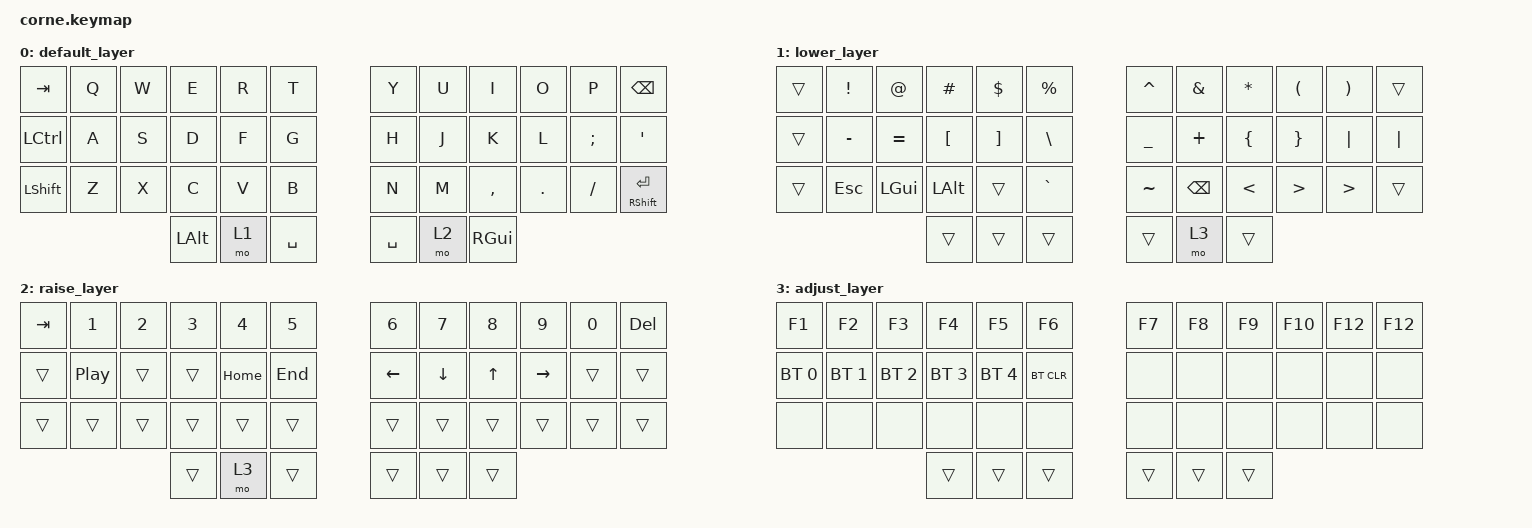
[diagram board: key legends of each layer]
/*
 * Copyright (c) 2020 The ZMK Contributors
 *
 * SPDX-License-Identifier: MIT
 */

#include <behaviors.dtsi>
#include <dt-bindings/zmk/keys.h>
#include <dt-bindings/zmk/bt.h>

/ {
        keymap {
                compatible = "zmk,keymap";

                default_layer {
// -----------------------------------------------------------------------------------------
// |  TAB |  Q  |  W  |  E  |  R  |  T  |   |  Y  |  U   |  I  |  O  |  P  | BKSP |
// | CTRL |  A  |  S  |  D  |  F  |  G  |   |  H  |  J   |  K  |  L  |  ;  |  '   |
// | SHFT |  Z  |  X  |  C  |  V  |  B  |   |  N  |  M   |  ,  |  .  |  /  | ENT  |
//                    | LALT | LWR | SPC |   | SPC | RSE  | GUI |
                        bindings = <
   &kp TAB   &kp Q &kp W &kp E &kp R &kp T   &kp Y &kp U  &kp I     &kp O   &kp P    &kp BSPC
   &kp LCTRL &kp A &kp S &kp D &kp F &kp G   &kp H &kp J  &kp K     &kp L   &kp SEMI &kp SQT
   &kp LSHFT &kp Z &kp X &kp C &kp V &kp B   &kp N &kp M  &kp COMMA &kp DOT &kp FSLH &mt RSHIFT RET
                  &kp LALT &mo 1 &kp SPACE   &kp SPACE &mo 2 &kp RGUI
                        >;
                };
                
                 lower_layer {
// -----------------------------------------------------------------------------------------
// |  TAB |  !  |  @  |  #  |  $  |  %  |   |  ^  |  &  |  *  |  (  |  )  | BKSP |
// | CTRL |     |     |     |     |     |   |  -  |  =  |  [  |  ]  |  \  |  `   |
// | SHFT |     |     |     |     |     |   |  _  |  +  |  {  |  }  | "|" |  ~   |
//                    | GUI |     | SPC |   | ENT |     | ALT |
                        bindings = <
   &trans  &kp EXCL  &kp AT    &kp HASH &kp DLLR &kp PRCNT   &kp CARET &kp AMPS  &kp STAR &kp LPAR &kp RPAR &trans
   &trans  &kp MINUS &kp EQUAL &kp LBKT &kp RBKT &kp BSLH    &kp UNDER &kp PLUS  &kp LBRC &kp RBRC &kp PIPE &kp PIPE
   &trans  &kp ESC   &kp LGUI  &kp LALT &trans   &kp GRAVE   &kp TILDE &kp BSPC  &kp LT   &kp GT   &kp GT &trans
                    	     &trans &trans   &trans   &trans &mo 3 &trans    
                        >;
                };
                raise_layer {
// -----------------------------------------------------------------------------------------
// |  TAB |  1  |  2  |  3  |  4  |  5  |   |  6  |  7  |  8  |  9  |  0  | BKSP |
// | BTCLR| BT1 | BT2 | BT3 | BT4 | BT5 |   | LFT | DWN |  UP | RGT |     |      |
// | SHFT |     |     |     |     |     |   |     |     |     |     |     |      |
//                    | GUI |     | SPC |   | ENT |     | ALT |
                        bindings = <
   &kp TAB &kp N1   &kp N2 &kp N3 &kp N4   &kp N5    &kp N6   &kp N7   &kp N8 &kp N9    &kp N0 &kp DEL
   &trans  &kp C_PP &trans &trans &kp HOME &kp END   &kp LEFT &kp DOWN &kp UP &kp RIGHT &trans &trans
   &trans  &trans   &trans &trans &trans   &trans    &trans   &trans   &trans &trans    &trans &trans
                           &trans &mo 3    &trans    &trans   &trans   &trans    
                        >;
                };
                 adjust_layer {
// -----------------------------------------------------------------------------------------
// | RGB BRI+ | RGB SAT+ | RGB HUE+ | RGB ANI+ |    | RGB TOG |   |  BT1  | BT2 | BT3 | BT4 | BT5 | BT CLR |
// | RGB BRI- | RGB SAT- | RGB HUE- | RGB ANI+ |    |         |   |       |     |     |     |     |        |
// |          |          |          |          |    |         |   | RESET |     |     |     |     |        |
//                                              |     |     |     |     |     |
                        bindings = <
   &kp F1  &kp F2  &kp F3  &kp F4 &kp F5 &kp F6 &kp F7 &kp F8 &kp F9 &kp F10 &kp F12 &kp F12
   &bt BT_SEL 0 &bt BT_SEL 1 &bt BT_SEL 2 &bt BT_SEL 3 &bt BT_SEL 4 &bt BT_CLR        &none        &none        &none        &none        &none        &none
   &none           &none           &none           &none           &none &none              &none       &none        &none        &none        &none        &none
                                                             &trans &trans   &trans    &trans   &trans   &trans    
                        >;
               };

        };
};
